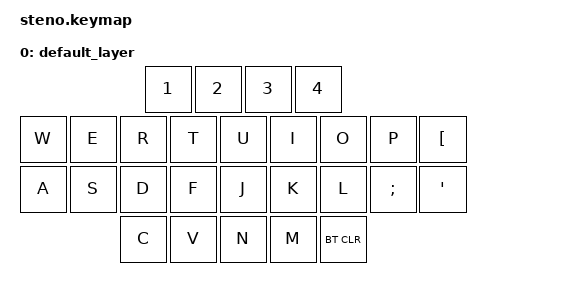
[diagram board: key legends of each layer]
/*
 * Copyright (c) 2021 Nick Winans
 *
 * SPDX-License-Identifier: MIT
 */

#include <behaviors.dtsi>
#include <dt-bindings/zmk/keys.h>
#include <dt-bindings/zmk/bt.h>

/ {
    keymap {
        compatible = "zmk,keymap";

        default_layer {

             bindings = <
                &kp N1  &kp N2  &kp N3  &kp N4
                &kp W    &kp E    &kp R    &kp T     &kp U    &kp I    &kp O    &kp P   &kp LBKT
                &kp A    &kp S    &kp D    &kp F    &kp J    &kp K   &kp L   &kp SEMI   &kp APOS
                                   &kp C      &kp V      &kp N      &kp M   &bt BT_CLR      
            >;
        };


    };
};
